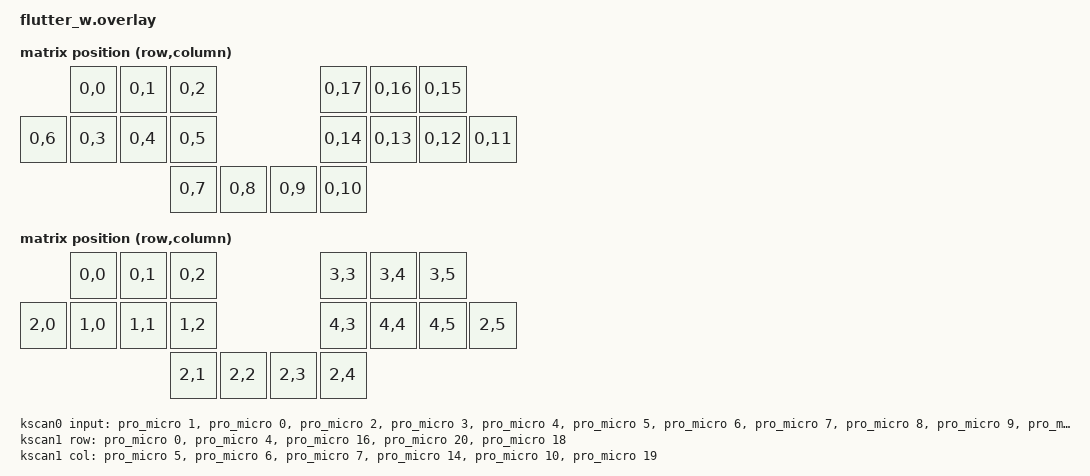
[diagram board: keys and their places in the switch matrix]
#include <dt-bindings/zmk/matrix_transform.h>

/ {
    chosen {
        zmk,kscan = &kscan0;
        ,matrix_transform = &transform0;
    };

    kscan0: kscan_0 {
        compatible = "zmk,kscan-gpio-direct";
        input-gpios
            = <&pro_micro 1 (GPIO_ACTIVE_LOW | GPIO_PULL_UP)>
            , <&pro_micro 0 (GPIO_ACTIVE_LOW | GPIO_PULL_UP)>
            , <&pro_micro 2 (GPIO_ACTIVE_LOW | GPIO_PULL_UP)>
            , <&pro_micro 3 (GPIO_ACTIVE_LOW | GPIO_PULL_UP)>
            , <&pro_micro 4 (GPIO_ACTIVE_LOW | GPIO_PULL_UP)>
            , <&pro_micro 5 (GPIO_ACTIVE_LOW | GPIO_PULL_UP)>
            , <&pro_micro 6 (GPIO_ACTIVE_LOW | GPIO_PULL_UP)>
            , <&pro_micro 7 (GPIO_ACTIVE_LOW | GPIO_PULL_UP)>
            , <&pro_micro 8 (GPIO_ACTIVE_LOW | GPIO_PULL_UP)>
            , <&pro_micro 9 (GPIO_ACTIVE_LOW | GPIO_PULL_UP)>
            , <&pro_micro 10 (GPIO_ACTIVE_LOW | GPIO_PULL_UP)>
            , <&pro_micro 16 (GPIO_ACTIVE_LOW | GPIO_PULL_UP)>
            , <&pro_micro 14 (GPIO_ACTIVE_LOW | GPIO_PULL_UP)>
            , <&pro_micro 15 (GPIO_ACTIVE_LOW | GPIO_PULL_UP)>
            , <&pro_micro 18 (GPIO_ACTIVE_LOW | GPIO_PULL_UP)>
            , <&pro_micro 19 (GPIO_ACTIVE_LOW | GPIO_PULL_UP)>
            , <&pro_micro 20 (GPIO_ACTIVE_LOW | GPIO_PULL_UP)>
            , <&pro_micro 21 (GPIO_ACTIVE_LOW | GPIO_PULL_UP)>
            ;
    };

    transform0: matrix_transform_0 {
        compatible = "zmk,matrix-transform";
 				columns = <18>;
				rows = <1>;
        map = <
        // template for real board
                     RC(0, 0) RC(0, 1) RC(0, 2)                   RC(0,17) RC(0,16) RC(0,15)
            RC(0, 6) RC(0, 3) RC(0, 4) RC(0, 5)                   RC(0,14) RC(0,13) RC(0,12) RC(0,11)
                                       RC(0, 7) RC(0, 8) RC(0,9) RC(0,10)
        //      0  1  2        3  4  5
        //   6  7  8  9       10 11 12 13
        //           14 15 16 17
        //
        //
        // for testing.
        //             RC(0,0)  RC(0,1)  
        //             RC(0,2)  RC(0,3)
        //             RC(0,4)  RC(0,5)
        //             RC(0,6)  RC(0,7)
        //             RC(0,8) 
        //             RC(0,9)  RC(0,10) RC(0,11) RC(0,12) RC(0,13) RC(0,14) RC(0,15) RC(0,16) RC(0,17)
        >;
    };

    kscan1: kscan_1 {
        compatible = "zmk,kscan-gpio-matrix";
        wakeup-source;
        diode-direction = "row2col";
        row-gpios
            = <&pro_micro 0  GPIO_ACTIVE_HIGH>
            , <&pro_micro 4  GPIO_ACTIVE_HIGH>
            , <&pro_micro 16 GPIO_ACTIVE_HIGH>
            , <&pro_micro 20 GPIO_ACTIVE_HIGH>
            , <&pro_micro 18 GPIO_ACTIVE_HIGH>
            ;
        col-gpios
            = <&pro_micro 5  (GPIO_ACTIVE_HIGH | GPIO_PULL_DOWN)>
            , <&pro_micro 6  (GPIO_ACTIVE_HIGH | GPIO_PULL_DOWN)>
            , <&pro_micro 7  (GPIO_ACTIVE_HIGH | GPIO_PULL_DOWN)>
            , <&pro_micro 14 (GPIO_ACTIVE_HIGH | GPIO_PULL_DOWN)>
            , <&pro_micro 10 (GPIO_ACTIVE_HIGH | GPIO_PULL_DOWN)>
            , <&pro_micro 19 (GPIO_ACTIVE_HIGH | GPIO_PULL_DOWN)>
            ;
    };

    transform1: matrix_transform_1 {
        compatible = "zmk,matrix-transform";
        rows = <5>;
        columns = <6>;
        map = <
        
                     RC(0, 0) RC(0, 1) RC(0, 2)                   RC(3, 3) RC(3, 4) RC(3, 5)
            RC(2, 0) RC(1, 0) RC(1, 1) RC(1, 2)                   RC(4, 3) RC(4, 4) RC(4, 5) RC(2, 5)
                                       RC(2, 1) RC(2, 2) RC(2, 3) RC(2, 4)
        >;
    };

};
